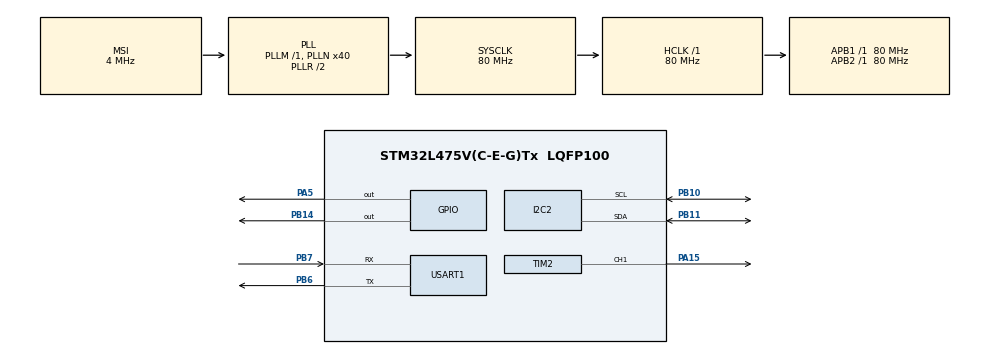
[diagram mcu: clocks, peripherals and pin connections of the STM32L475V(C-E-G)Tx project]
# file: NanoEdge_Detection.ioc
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Dma.Request0=TIM2_CH1
Dma.TIM2_CH1.0.Direction=DMA_MEMORY_TO_PERIPH
Dma.TIM2_CH1.0.Instance=DMA1_Channel5
Dma.TIM2_CH1.0.MemDataAlignment=DMA_MDATAALIGN_WORD
Dma.TIM2_CH1.0.MemInc=DMA_MINC_ENABLE
Dma.TIM2_CH1.0.Mode=DMA_NORMAL
Dma.TIM2_CH1.0.PeriphDataAlignment=DMA_PDATAALIGN_WORD
Dma.TIM2_CH1.0.PeriphInc=DMA_PINC_DISABLE
Dma.TIM2_CH1.0.Priority=DMA_PRIORITY_LOW
I2C2.Timing=0x10D19CE4
Mcu.Family=STM32L4
Mcu.Name=STM32L475V(C-E-G)Tx
Mcu.Package=LQFP100
NVIC.DMA1_Channel5_IRQn=true\:0\:0\:false\:false\:true\:false\:true\:true
NVIC.PriorityGroup=NVIC_PRIORITYGROUP_4
PA15\ (JTDI).Signal=S_TIM2_CH1
PA5.Signal=GPIO_Output
PB10.Mode=I2C
PB10.Signal=I2C2_SCL
PB11.Mode=I2C
PB11.Signal=I2C2_SDA
PB14.Signal=GPIO_Output
PB6.Mode=Asynchronous
PB6.Signal=USART1_TX
PB7.Mode=Asynchronous
PB7.Signal=USART1_RX
ProjectManager.HeapSize=0x200
ProjectManager.StackSize=0x400
ProjectManager.TargetToolchain=STM32CubeIDE
RCC.AHBFreq_Value=80000000
RCC.APB1Freq_Value=80000000
RCC.APB1TimFreq_Value=80000000
RCC.APB2Freq_Value=80000000
RCC.APB2TimFreq_Value=80000000
RCC.CortexFreq_Value=80000000
RCC.HCLKFreq_Value=80000000
RCC.HSE_VALUE=8000000
RCC.HSI_VALUE=16000000
RCC.LSE_VALUE=32768
RCC.MSI_VALUE=4000000
RCC.PLLN=40
RCC.SYSCLKFreq_VALUE=80000000
RCC.SYSCLKSource=RCC_SYSCLKSOURCE_PLLCLK
RCC.VCOOutputFreq_Value=160000000
SH.S_TIM2_CH1.0=TIM2_CH1,PWM Generation1 CH1
TIM2.Channel-PWM\ Generation1\ CH1=TIM_CHANNEL_1
TIM2.Period=100
USART1.VirtualMode-Asynchronous=VM_ASYNC
board=custom

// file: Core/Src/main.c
/* USER CODE BEGIN Header */
/**
  ******************************************************************************
  * @file           : main.c
  * @brief          : Main program body
  ******************************************************************************
  * @attention
  *
  * Copyright (c) 2026 STMicroelectronics.
  * All rights reserved.
  *
  * This software is licensed under terms that can be found in the LICENSE file
  * in the root directory of this software component.
  * If no LICENSE file comes with this software, it is provided AS-IS.
  *
  ******************************************************************************
  */
/* USER CODE END Header */
#include "main.h"

/* USER CODE BEGIN Includes */
#include <string.h>
#include <stdio.h>
#include "LSM6DSL.h"
#include "NanoEdgeAI.h"
#include "WS2812.h"
/* USER CODE END Includes */

I2C_HandleTypeDef hi2c2;

TIM_HandleTypeDef htim2;
DMA_HandleTypeDef hdma_tim2_ch1;

UART_HandleTypeDef huart1;

void SystemClock_Config(void);
static void MX_GPIO_Init(void);
static void MX_DMA_Init(void);
static void MX_I2C2_Init(void);
static void MX_USART1_UART_Init(void);
static void MX_TIM2_Init(void);

/* USER CODE BEGIN 0 */
#define LEARNING_ITERATIONS 20
float input_user_buffer[NEAI_INPUT_SIGNAL_LENGTH * NEAI_INPUT_AXIS_NUMBER];

void fill_buffer(float input_buffer[]){
	uint16_t i;
	for(i=0 ; i<NEAI_INPUT_SIGNAL_LENGTH ; i++){
		while(!LSM6DSL_DataReady())
			;
		LSM6DSL_ReadAccel(&input_buffer[NEAI_INPUT_AXIS_NUMBER * i]);
	}
}
/* USER CODE END 0 */

int main(void)
{

  /* MCU Configuration--------------------------------------------------------*/

  /* Reset of all peripherals, Initializes the Flash interface and the Systick. */
  HAL_Init();

  /* Configure the system clock */
  SystemClock_Config();

  /* Initialize all configured peripherals */
  MX_GPIO_Init();
  MX_DMA_Init();
  MX_I2C2_Init();
  MX_USART1_UART_Init();
  MX_TIM2_Init();
  /* USER CODE BEGIN 2 */

  // Inicializacion del acelerometro
  LSM6DSL_Init();

	/* Initialization ------------------------------------------------------------*/
	bool use_pretrained = false; // true to use the pretrained model, false to start learning from scratch
	enum neai_state error_code = neai_anomalydetection_init(use_pretrained);
	uint8_t similarity = 0;

	if (error_code != NEAI_OK) {
		/* Check the returned error code (cf NanoEdgeAI.h). */
	}

	// Inicializacion de los leds
	//1- Apagamos todos los leds
	WS2812_Clear_LED();
	//2- Actualizamos el estado de los leds
	WS2812_Update();

	/* Learning process ----------------------------------------------------------*/
	for (uint16_t iteration = 0 ; iteration < LEARNING_ITERATIONS ; iteration++) {
		fill_buffer(input_user_buffer);
		neai_anomalydetection_learn(input_user_buffer);

		printf("Learning: %d\r\n", iteration);

		//Encendemos un led azul y lo vamos rotando en cada iteracion
		//1 - Limpiamos todos los leds
		WS2812_Clear_LED();
		//Encendemos un solo leds en azul
		WS2812_Set_LED(iteration%6, 0, 0, 255);
		//Actualizamos el estado de los leds
		WS2812_Update();
	}

  /* USER CODE END 2 */

  /* Infinite loop */
  /* USER CODE BEGIN WHILE */
  while (1)
  {

	  	fill_buffer(input_user_buffer);
		neai_anomalydetection_detect(input_user_buffer, &similarity);
		if (similarity < 90){
			printf("----> Abnormal: %d\r\n", similarity);

			//1 - Limpiamos todos los leds
			WS2812_Clear_LED();
			//2- Encendemos todos los leds en rojo
			WS2812_Set_All_LED(255, 0, 0);
			// 3 - Actualizamos el estado de los leds
			WS2812_Update();

		}else{

			printf("Regular: %d\r\n", similarity);

			//1- Limpiamos todos los leds
			WS2812_Clear_LED();
			//2- Encendemos todos los leds en verde
			//WS2812_Set_All_LED(0, 255, 0);
			WS2812_Set_LED(0,255,0,0);
			WS2812_Set_LED(1,0,255,0);
			WS2812_Set_LED(2,0,0,255);
			WS2812_Set_LED(3,127,127,0);
			WS2812_Set_LED(4,0,127,127);
			WS2812_Set_LED(5,127,0,127);

			// 3 - Actualizamos el estado de los leds
			WS2812_Update();

		}

    /* USER CODE END WHILE */

  }
}

void SystemClock_Config(void)
{
  RCC_OscInitTypeDef RCC_OscInitStruct = {0};
  RCC_ClkInitTypeDef RCC_ClkInitStruct = {0};

  /** Configure the main internal regulator output voltage
  */
  if (HAL_PWREx_ControlVoltageScaling(PWR_REGULATOR_VOLTAGE_SCALE1) != HAL_OK)
  {
    Error_Handler();
  }

  /** Initializes the RCC Oscillators according to the specified parameters
  * in the RCC_OscInitTypeDef structure.
  */
  RCC_OscInitStruct.OscillatorType = RCC_OSCILLATORTYPE_MSI;
  RCC_OscInitStruct.MSIState = RCC_MSI_ON;
  RCC_OscInitStruct.MSICalibrationValue = 0;
  RCC_OscInitStruct.MSIClockRange = RCC_MSIRANGE_6;
  RCC_OscInitStruct.PLL.PLLState = RCC_PLL_ON;
  RCC_OscInitStruct.PLL.PLLSource = RCC_PLLSOURCE_MSI;
  RCC_OscInitStruct.PLL.PLLM = 1;
  RCC_OscInitStruct.PLL.PLLN = 40;
  RCC_OscInitStruct.PLL.PLLP = RCC_PLLP_DIV7;
  RCC_OscInitStruct.PLL.PLLQ = RCC_PLLQ_DIV2;
  RCC_OscInitStruct.PLL.PLLR = RCC_PLLR_DIV2;
  if (HAL_RCC_OscConfig(&RCC_OscInitStruct) != HAL_OK)
  {
    Error_Handler();
  }

  /** Initializes the CPU, AHB and APB buses clocks
  */
  RCC_ClkInitStruct.ClockType = RCC_CLOCKTYPE_HCLK|RCC_CLOCKTYPE_SYSCLK
                              |RCC_CLOCKTYPE_PCLK1|RCC_CLOCKTYPE_PCLK2;
  RCC_ClkInitStruct.SYSCLKSource = RCC_SYSCLKSOURCE_PLLCLK;
  RCC_ClkInitStruct.AHBCLKDivider = RCC_SYSCLK_DIV1;
  RCC_ClkInitStruct.APB1CLKDivider = RCC_HCLK_DIV1;
  RCC_ClkInitStruct.APB2CLKDivider = RCC_HCLK_DIV1;

  if (HAL_RCC_ClockConfig(&RCC_ClkInitStruct, FLASH_LATENCY_4) != HAL_OK)
  {
    Error_Handler();
  }
}

static void MX_I2C2_Init(void)
{

  hi2c2.Instance = I2C2;
  hi2c2.Init.Timing = 0x10D19CE4;
  hi2c2.Init.OwnAddress1 = 0;
  hi2c2.Init.AddressingMode = I2C_ADDRESSINGMODE_7BIT;
  hi2c2.Init.DualAddressMode = I2C_DUALADDRESS_DISABLE;
  hi2c2.Init.OwnAddress2 = 0;
  hi2c2.Init.OwnAddress2Masks = I2C_OA2_NOMASK;
  hi2c2.Init.GeneralCallMode = I2C_GENERALCALL_DISABLE;
  hi2c2.Init.NoStretchMode = I2C_NOSTRETCH_DISABLE;
  if (HAL_I2C_Init(&hi2c2) != HAL_OK)
  {
    Error_Handler();
  }

  /** Configure Analogue filter
  */
  if (HAL_I2CEx_ConfigAnalogFilter(&hi2c2, I2C_ANALOGFILTER_ENABLE) != HAL_OK)
  {
    Error_Handler();
  }

  /** Configure Digital filter
  */
  if (HAL_I2CEx_ConfigDigitalFilter(&hi2c2, 0) != HAL_OK)
  {
    Error_Handler();
  }

}

static void MX_TIM2_Init(void)
{

  TIM_MasterConfigTypeDef sMasterConfig = {0};
  TIM_OC_InitTypeDef sConfigOC = {0};

  htim2.Instance = TIM2;
  htim2.Init.Prescaler = 0;
  htim2.Init.CounterMode = TIM_COUNTERMODE_UP;
  htim2.Init.Period = 100;
  htim2.Init.ClockDivision = TIM_CLOCKDIVISION_DIV1;
  htim2.Init.AutoReloadPreload = TIM_AUTORELOAD_PRELOAD_DISABLE;
  if (HAL_TIM_PWM_Init(&htim2) != HAL_OK)
  {
    Error_Handler();
  }
  sMasterConfig.MasterOutputTrigger = TIM_TRGO_RESET;
  sMasterConfig.MasterSlaveMode = TIM_MASTERSLAVEMODE_DISABLE;
  if (HAL_TIMEx_MasterConfigSynchronization(&htim2, &sMasterConfig) != HAL_OK)
  {
    Error_Handler();
  }
  sConfigOC.OCMode = TIM_OCMODE_PWM1;
  sConfigOC.Pulse = 0;
  sConfigOC.OCPolarity = TIM_OCPOLARITY_HIGH;
  sConfigOC.OCFastMode = TIM_OCFAST_DISABLE;
  if (HAL_TIM_PWM_ConfigChannel(&htim2, &sConfigOC, TIM_CHANNEL_1) != HAL_OK)
  {
    Error_Handler();
  }
  HAL_TIM_MspPostInit(&htim2);

}

static void MX_USART1_UART_Init(void)
{

  huart1.Instance = USART1;
  huart1.Init.BaudRate = 115200;
  huart1.Init.WordLength = UART_WORDLENGTH_8B;
  huart1.Init.StopBits = UART_STOPBITS_1;
  huart1.Init.Parity = UART_PARITY_NONE;
  huart1.Init.Mode = UART_MODE_TX_RX;
  huart1.Init.HwFlowCtl = UART_HWCONTROL_NONE;
  huart1.Init.OverSampling = UART_OVERSAMPLING_16;
  huart1.Init.OneBitSampling = UART_ONE_BIT_SAMPLE_DISABLE;
  huart1.AdvancedInit.AdvFeatureInit = UART_ADVFEATURE_NO_INIT;
  if (HAL_UART_Init(&huart1) != HAL_OK)
  {
    Error_Handler();
  }

}

static void MX_DMA_Init(void)
{

  /* DMA controller clock enable */
  __HAL_RCC_DMA1_CLK_ENABLE();

  /* DMA interrupt init */
  /* DMA1_Channel5_IRQn interrupt configuration */
  HAL_NVIC_SetPriority(DMA1_Channel5_IRQn, 0, 0);
  HAL_NVIC_EnableIRQ(DMA1_Channel5_IRQn);

}

static void MX_GPIO_Init(void)
{
  GPIO_InitTypeDef GPIO_InitStruct = {0};

  /* GPIO Ports Clock Enable */
  __HAL_RCC_GPIOA_CLK_ENABLE();
  __HAL_RCC_GPIOB_CLK_ENABLE();

  /*Configure GPIO pin Output Level */
  HAL_GPIO_WritePin(GPIOA, GPIO_PIN_5, GPIO_PIN_RESET);

  /*Configure GPIO pin Output Level */
  HAL_GPIO_WritePin(GPIOB, GPIO_PIN_14, GPIO_PIN_RESET);

  /*Configure GPIO pin : PA5 */
  GPIO_InitStruct.Pin = GPIO_PIN_5;
  GPIO_InitStruct.Mode = GPIO_MODE_OUTPUT_PP;
  GPIO_InitStruct.Pull = GPIO_NOPULL;
  GPIO_InitStruct.Speed = GPIO_SPEED_FREQ_LOW;
  HAL_GPIO_Init(GPIOA, &GPIO_InitStruct);

  /*Configure GPIO pin : PB14 */
  GPIO_InitStruct.Pin = GPIO_PIN_14;
  GPIO_InitStruct.Mode = GPIO_MODE_OUTPUT_PP;
  GPIO_InitStruct.Pull = GPIO_NOPULL;
  GPIO_InitStruct.Speed = GPIO_SPEED_FREQ_LOW;
  HAL_GPIO_Init(GPIOB, &GPIO_InitStruct);

}

/* USER CODE BEGIN 4 */
int __io_putchar(int ch)
{
	uint8_t c[1];
	c[0] = ch & 0x00FF;
	HAL_UART_Transmit(&huart1, &*c, 1, 10);
	return ch;
}
/* USER CODE END 4 */

void Error_Handler(void)
{
  __disable_irq();
  while (1)
  {
  }
}
